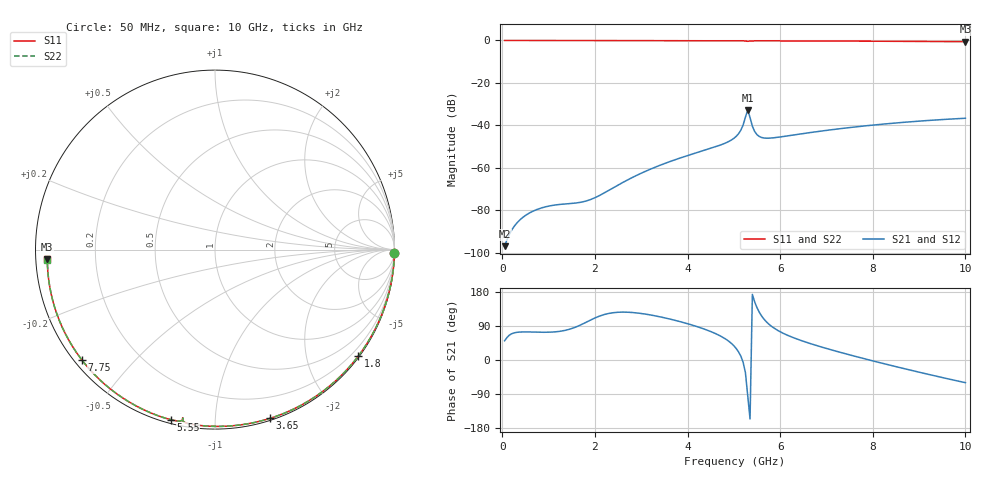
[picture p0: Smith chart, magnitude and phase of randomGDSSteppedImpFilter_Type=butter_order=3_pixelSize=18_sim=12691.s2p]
! freq	dB(S11)	phase(S11)	dB(S12)	phase(S12)
!  dB(S21)	phase(S21)	dB(S22)	phase(S22)
!S-par simulation data
#  GHz  S  DB  R 50
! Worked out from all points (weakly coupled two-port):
!   200 points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, 50 MHz to 10 GHz, reference 50 ohm
!   highest |S21| = -32.72 dB at 5.3 GHz (marker M1); lowest = -96.8 dB at 50 MHz (marker M2)
!   lowest |S11| = -0.6 dB at 10 GHz (marker M3), VSWR 30.09, Z = 1.66 - j1.4 ohm
!   |S11| at or under -10 dB: nowhere
!   |S22| runs from -0.6 to 0.0 dB; largest |S21 - S12| = 0
!   S11 on the Smith chart (normalised r, x): 50 MHz: open; 1.8 GHz: 0.03, -3.02; 3.65 GHz: 0.02, -1.38; 5.55 GHz: 0.02, -0.77; 7.75 GHz: 0.02, -0.36; 10 GHz: 0.03, -0.03
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0.05  -0.00 -1.0  -96.83 50.8  -96.83 50.8  -0.00 -1.0
0.7  -0.02 -14.5  -79.99 73.6  -79.99 73.6  -0.02 -14.4
1.05  -0.03 -21.6  -77.76 73.5  -77.76 73.5  -0.03 -21.6
1.75  -0.05 -35.6  -75.92 96.0  -75.92 96.0  -0.05 -35.6
1.8  -0.05 -36.6  -75.64 99.0  -75.64 99.0  -0.05 -36.6
2.05  -0.05 -41.6  -73.51 113.5  -73.51 113.5  -0.05 -41.5
2.6  -0.07 -52.2  -66.87 126.4  -66.87 126.4  -0.07 -52.2
3.4  -0.09 -67.3  -58.80 114.1  -58.80 114.1  -0.09 -67.2
3.65  -0.10 -71.9  -56.77 107.2  -56.77 107.2  -0.10 -71.8
4.75  -0.14 -91.4  -48.90 60.7  -48.90 60.7  -0.14 -91.3
5.05  -0.15 -96.7  -45.15 30.5  -45.15 30.5  -0.15 -96.6
5.15  -0.17 -98.6  -42.28 10.4  -42.28 10.4  -0.17 -98.5
5.2  -0.19 -99.6  -39.83 -5.7  -39.83 -5.7  -0.18 -99.5
5.3  -0.41 -100.9  -32.72 -93.0  -32.72 -93.0  -0.40 -100.8
5.4  -0.21 -101.8  -40.35 173.2  -40.35 173.2  -0.21 -101.7
5.45  -0.19 -102.8  -42.87 153.2  -42.87 153.2  -0.19 -102.7
5.55  -0.18 -104.6  -45.21 125.9  -45.21 125.9  -0.18 -104.5
5.8  -0.19 -108.9  -45.94 90.1  -45.94 90.1  -0.19 -108.8
6.7  -0.24 -123.6  -43.20 41.4  -43.20 41.4  -0.24 -123.5
7.75  -0.32 -140.4  -40.40 5.5  -40.40 5.5  -0.32 -140.2
8.35  -0.38 -149.9  -39.12 -13.0  -39.12 -13.0  -0.38 -149.7
10  -0.58 -176.8  -36.61 -59.8  -36.61 -59.8  -0.58 -176.6
